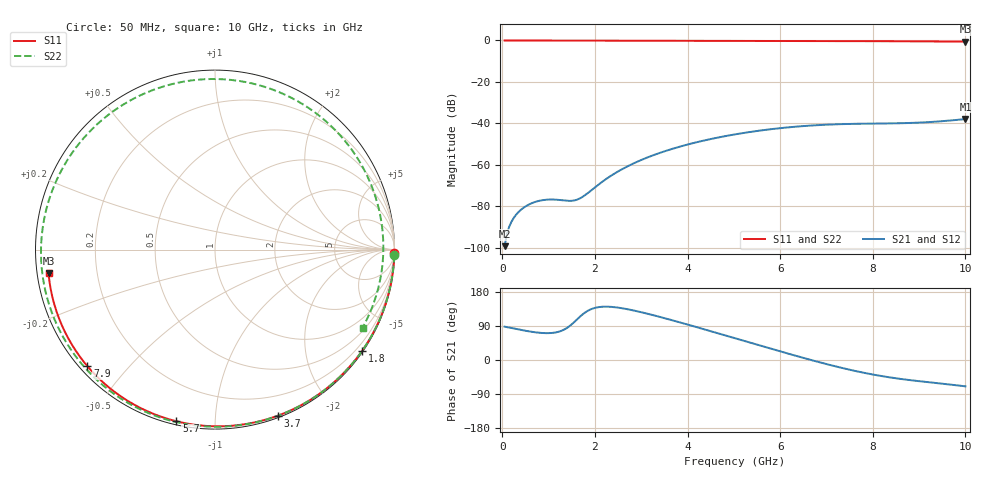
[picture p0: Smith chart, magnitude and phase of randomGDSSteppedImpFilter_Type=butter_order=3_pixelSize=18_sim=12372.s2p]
! freq	dB(S11)	phase(S11)	dB(S12)	phase(S12)
!  dB(S21)	phase(S21)	dB(S22)	phase(S22)
!S-par simulation data
#  GHz  S  DB  R 50
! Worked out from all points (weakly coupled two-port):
!   200 points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, 50 MHz to 10 GHz, reference 50 ohm
!   highest |S21| = -37.90 dB at 10 GHz (marker M1); lowest = -99.2 dB at 50 MHz (marker M2)
!   lowest |S11| = -0.6 dB at 10 GHz (marker M3), VSWR 30.58, Z = 1.64 - j3.48 ohm
!   |S11| at or under -10 dB: nowhere
!   |S22| runs from -0.6 to 0.0 dB; largest |S21 - S12| = 0
!   S11 on the Smith chart (normalised r, x): 50 MHz: open; 1.8 GHz: 0.03, -3.21; 3.7 GHz: 0.02, -1.45; 5.7 GHz: 0.02, -0.80; 7.9 GHz: 0.02, -0.39; 10 GHz: 0.03, -0.07
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0.05  -0.00 -1.0  -99.18 87.9  -99.18 87.9  -0.00 -1.8
0.5  -0.01 -9.8  -80.04 77.2  -80.04 77.2  -0.02 -18.1
0.85  -0.02 -16.5  -77.07 71.4  -77.07 71.4  -0.04 -30.7
1.5  -0.04 -29.0  -77.31 94.2  -77.31 94.2  -0.07 -53.8
1.75  -0.04 -33.7  -75.16 121.9  -75.16 121.9  -0.08 -62.5
1.8  -0.04 -34.6  -74.37 126.3  -74.37 126.3  -0.08 -64.3
2.55  -0.06 -48.6  -62.52 137.3  -62.52 137.3  -0.11 -90.1
2.95  -0.07 -55.8  -58.11 127.6  -58.11 127.6  -0.13 -103.7
3.4  -0.08 -63.9  -54.22 113.8  -54.22 113.8  -0.16 -119.0
3.7  -0.09 -69.1  -52.07 103.8  -52.07 103.8  -0.17 -129.3
4.4  -0.12 -81.2  -48.02 79.6  -48.02 79.6  -0.22 -153.6
5.05  -0.14 -92.0  -45.19 56.5  -45.19 56.5  -0.26 -177.1
5.7  -0.17 -102.7  -43.05 33.4  -43.05 33.4  -0.32 158.0
6.2  -0.20 -110.7  -41.84 15.9  -41.84 15.9  -0.36 137.5
6.7  -0.23 -118.6  -40.97 -1.1  -40.97 -1.1  -0.40 116.0
7.3  -0.28 -128.1  -40.36 -19.9  -40.36 -19.9  -0.44 88.9
7.9  -0.33 -137.5  -40.11 -36.0  -40.11 -36.0  -0.48 61.1
8.35  -0.37 -144.7  -40.00 -45.6  -40.00 -45.6  -0.50 40.3
8.75  -0.41 -151.1  -39.82 -52.3  -39.82 -52.3  -0.52 22.4
9.15  -0.46 -157.6  -39.45 -57.9  -39.45 -57.9  -0.55 5.3
9.55  -0.51 -164.3  -38.84 -63.2  -38.84 -63.2  -0.58 -10.9
10  -0.57 -172.0  -37.90 -69.5  -37.90 -69.5  -0.63 -27.9
